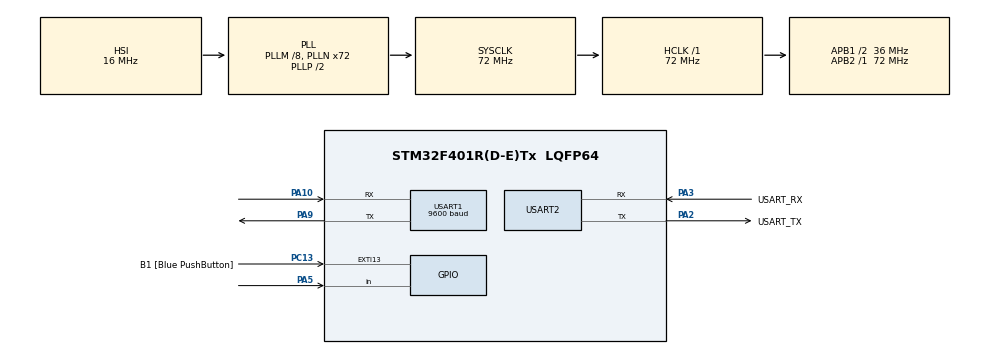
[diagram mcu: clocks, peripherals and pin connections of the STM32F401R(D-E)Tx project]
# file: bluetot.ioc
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Mcu.Family=STM32F4
Mcu.Name=STM32F401R(D-E)Tx
Mcu.Package=LQFP64
NVIC.PriorityGroup=NVIC_PRIORITYGROUP_4
NVIC.USART1_IRQn=true\:0\:0\:false\:false\:true\:true\:true\:true
PA10.Mode=Asynchronous
PA10.Signal=USART1_RX
PA13.GPIO_Label=TMS
PA13.Mode=Trace_Asynchronous_SW
PA13.Signal=SYS_JTMS-SWDIO
PA14.GPIO_Label=TCK
PA14.Mode=Trace_Asynchronous_SW
PA14.Signal=SYS_JTCK-SWCLK
PA2.GPIO_Label=USART_TX
PA2.GPIO_Mode=GPIO_MODE_AF_PP
PA2.GPIO_PuPd=GPIO_NOPULL
PA2.GPIO_Speed=GPIO_SPEED_FREQ_LOW
PA2.Mode=Asynchronous
PA2.Signal=USART2_TX
PA3.GPIO_Label=USART_RX
PA3.GPIO_Mode=GPIO_MODE_AF_PP
PA3.GPIO_PuPd=GPIO_NOPULL
PA3.GPIO_Speed=GPIO_SPEED_FREQ_LOW
PA3.Mode=Asynchronous
PA3.Signal=USART2_RX
PA5.Signal=GPIO_Input
PA9.Mode=Asynchronous
PA9.Signal=USART1_TX
PB3.GPIO_Label=SWO
PB3.Mode=Trace_Asynchronous_SW
PB3.Signal=SYS_JTDO-SWO
PC13-ANTI_TAMP.GPIO_Label=B1 [Blue PushButton]
PC13-ANTI_TAMP.GPIO_ModeDefaultEXTI=GPIO_MODE_IT_FALLING
PC13-ANTI_TAMP.GPIO_PuPd=GPIO_NOPULL
PC13-ANTI_TAMP.Signal=GPXTI13
PC14-OSC32_IN.Mode=LSE-External-Oscillator
PC14-OSC32_IN.Signal=RCC_OSC32_IN
PC15-OSC32_OUT.Mode=LSE-External-Oscillator
PC15-OSC32_OUT.Signal=RCC_OSC32_OUT
PH0\ -\ OSC_IN.Mode=HSE-External-Clock-Source
PH0\ -\ OSC_IN.Signal=RCC_OSC_IN
PH1\ -\ OSC_OUT.Mode=HSE-External-Clock-Source
PH1\ -\ OSC_OUT.Signal=RCC_OSC_OUT
ProjectManager.HeapSize=0x200
ProjectManager.StackSize=0x400
ProjectManager.TargetToolchain=STM32CubeIDE
RCC.48MHZClocksFreq_Value=20571428.57142857
RCC.AHBFreq_Value=72000000
RCC.APB1CLKDivider=RCC_HCLK_DIV2
RCC.APB1Freq_Value=36000000
RCC.APB1TimFreq_Value=72000000
RCC.APB2Freq_Value=72000000
RCC.APB2TimFreq_Value=72000000
RCC.CortexFreq_Value=72000000
RCC.HCLKFreq_Value=72000000
RCC.HSE_VALUE=8000000
RCC.HSI_VALUE=16000000
RCC.PLLM=8
RCC.PLLN=72
RCC.PLLQ=7
RCC.SYSCLKFreq_VALUE=72000000
RCC.SYSCLKSource=RCC_SYSCLKSOURCE_PLLCLK
RCC.VCOOutputFreq_Value=144000000
USART1.BaudRate=9600
USART1.VirtualMode=VM_ASYNC
USART2.VirtualMode=VM_ASYNC
board=NUCLEO-F401RE

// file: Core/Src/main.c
/* USER CODE BEGIN Header */
/**
  ******************************************************************************
  * @file           : main.c
  * @brief          : Main program body
  ******************************************************************************
  * @attention
  *
  * Copyright (c) 2026 STMicroelectronics.
  * All rights reserved.
  *
  * This software is licensed under terms that can be found in the LICENSE file
  * in the root directory of this software component.
  * If no LICENSE file comes with this software, it is provided AS-IS.
  *
  ******************************************************************************
  */
/* USER CODE END Header */
#include "main.h"

/* USER CODE BEGIN Includes */
#include <stdio.h>
/* USER CODE END Includes */

UART_HandleTypeDef huart1;
UART_HandleTypeDef huart2;

/* USER CODE BEGIN PV */
static uint8_t rx_buffer[1];
static uint8_t received;
static volatile uint8_t data_ready = 0;
/* USER CODE END PV */

void SystemClock_Config(void);
static void MX_GPIO_Init(void);
static void MX_USART2_UART_Init(void);
static void MX_USART1_UART_Init(void);

int main(void)
{

  /* MCU Configuration--------------------------------------------------------*/

  /* Reset of all peripherals, Initializes the Flash interface and the Systick. */
  HAL_Init();

  /* Configure the system clock */
  SystemClock_Config();

  /* Initialize all configured peripherals */
  MX_GPIO_Init();
  MX_USART2_UART_Init();
  MX_USART1_UART_Init();
  /* USER CODE BEGIN 2 */

  HAL_UART_Receive_IT(&huart1, rx_buffer, 1);
  /* USER CODE END 2 */

  /* Infinite loop */
  /* USER CODE BEGIN WHILE */
  while (1)
  {
	  if (HAL_GPIO_ReadPin(GPIOA,GPIO_PIN_5) == GPIO_PIN_SET)
		  printf("HC CONNECTED\r\n");
	  else
		  printf("HC WAITING\r\n");

	  if (data_ready)
	  {
		  data_ready = 0;
		  printf("Received: %c\r\n", received);

		  char msg[32];
		  int len = sprintf(msg, "Echo: %c\r\n", received);
		  HAL_UART_Transmit(&huart1, (uint8_t *)msg, len, 100);
	  }
	  HAL_Delay(1000);
    /* USER CODE END WHILE */

  }
}

void SystemClock_Config(void)
{
  RCC_OscInitTypeDef RCC_OscInitStruct = {0};
  RCC_ClkInitTypeDef RCC_ClkInitStruct = {0};

  /** Configure the main internal regulator output voltage
  */
  __HAL_RCC_PWR_CLK_ENABLE();
  __HAL_PWR_VOLTAGESCALING_CONFIG(PWR_REGULATOR_VOLTAGE_SCALE2);

  /** Initializes the RCC Oscillators according to the specified parameters
  * in the RCC_OscInitTypeDef structure.
  */
  RCC_OscInitStruct.OscillatorType = RCC_OSCILLATORTYPE_HSI;
  RCC_OscInitStruct.HSIState = RCC_HSI_ON;
  RCC_OscInitStruct.HSICalibrationValue = RCC_HSICALIBRATION_DEFAULT;
  RCC_OscInitStruct.PLL.PLLState = RCC_PLL_ON;
  RCC_OscInitStruct.PLL.PLLSource = RCC_PLLSOURCE_HSI;
  RCC_OscInitStruct.PLL.PLLM = 8;
  RCC_OscInitStruct.PLL.PLLN = 72;
  RCC_OscInitStruct.PLL.PLLP = RCC_PLLP_DIV2;
  RCC_OscInitStruct.PLL.PLLQ = 7;
  if (HAL_RCC_OscConfig(&RCC_OscInitStruct) != HAL_OK)
  {
    Error_Handler();
  }

  /** Initializes the CPU, AHB and APB buses clocks
  */
  RCC_ClkInitStruct.ClockType = RCC_CLOCKTYPE_HCLK|RCC_CLOCKTYPE_SYSCLK
                              |RCC_CLOCKTYPE_PCLK1|RCC_CLOCKTYPE_PCLK2;
  RCC_ClkInitStruct.SYSCLKSource = RCC_SYSCLKSOURCE_PLLCLK;
  RCC_ClkInitStruct.AHBCLKDivider = RCC_SYSCLK_DIV1;
  RCC_ClkInitStruct.APB1CLKDivider = RCC_HCLK_DIV2;
  RCC_ClkInitStruct.APB2CLKDivider = RCC_HCLK_DIV1;

  if (HAL_RCC_ClockConfig(&RCC_ClkInitStruct, FLASH_LATENCY_2) != HAL_OK)
  {
    Error_Handler();
  }
}

static void MX_USART1_UART_Init(void)
{

  huart1.Instance = USART1;
  huart1.Init.BaudRate = 9600;
  huart1.Init.WordLength = UART_WORDLENGTH_8B;
  huart1.Init.StopBits = UART_STOPBITS_1;
  huart1.Init.Parity = UART_PARITY_NONE;
  huart1.Init.Mode = UART_MODE_TX_RX;
  huart1.Init.HwFlowCtl = UART_HWCONTROL_NONE;
  huart1.Init.OverSampling = UART_OVERSAMPLING_16;
  if (HAL_UART_Init(&huart1) != HAL_OK)
  {
    Error_Handler();
  }

}

static void MX_USART2_UART_Init(void)
{

  huart2.Instance = USART2;
  huart2.Init.BaudRate = 115200;
  huart2.Init.WordLength = UART_WORDLENGTH_8B;
  huart2.Init.StopBits = UART_STOPBITS_1;
  huart2.Init.Parity = UART_PARITY_NONE;
  huart2.Init.Mode = UART_MODE_TX_RX;
  huart2.Init.HwFlowCtl = UART_HWCONTROL_NONE;
  huart2.Init.OverSampling = UART_OVERSAMPLING_16;
  if (HAL_UART_Init(&huart2) != HAL_OK)
  {
    Error_Handler();
  }

}

static void MX_GPIO_Init(void)
{
  GPIO_InitTypeDef GPIO_InitStruct = {0};

  /* GPIO Ports Clock Enable */
  __HAL_RCC_GPIOC_CLK_ENABLE();
  __HAL_RCC_GPIOH_CLK_ENABLE();
  __HAL_RCC_GPIOA_CLK_ENABLE();
  __HAL_RCC_GPIOB_CLK_ENABLE();

  /*Configure GPIO pin : B1_Pin */
  GPIO_InitStruct.Pin = B1_Pin;
  GPIO_InitStruct.Mode = GPIO_MODE_IT_FALLING;
  GPIO_InitStruct.Pull = GPIO_NOPULL;
  HAL_GPIO_Init(B1_GPIO_Port, &GPIO_InitStruct);

  /*Configure GPIO pin : PA5 */
  GPIO_InitStruct.Pin = GPIO_PIN_5;
  GPIO_InitStruct.Mode = GPIO_MODE_INPUT;
  GPIO_InitStruct.Pull = GPIO_NOPULL;
  HAL_GPIO_Init(GPIOA, &GPIO_InitStruct);

}

/* USER CODE BEGIN 4 */
void HAL_UART_RxCpltCallback(UART_HandleTypeDef *huart)
{
	if (huart->Instance == USART1)
	{
		data_ready = 1;
		received = rx_buffer[0];

		HAL_UART_Receive_IT(&huart1, rx_buffer, 1);
	}
}

int _write(int file, char *ptr, int len)
{
	HAL_UART_Transmit(&huart2, (uint8_t *)ptr, len, HAL_MAX_DELAY);
	return len;
}
/* USER CODE END 4 */

void Error_Handler(void)
{
  __disable_irq();
  while (1)
  {
  }
}
